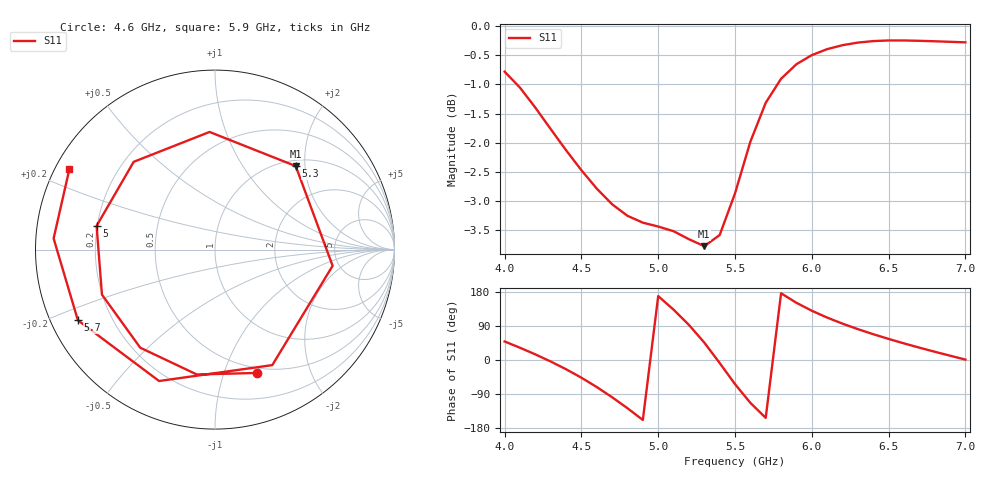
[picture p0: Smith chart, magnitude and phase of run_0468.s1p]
! Touchstone file exported from HFSS 2024.2.0
!  File:  C:/Users/wsak9/Desktop/Sim Fast/Widenad Patch/WP_AI_V1_sweep.aedt
!  Generated:  11:27:53 AM Oct 14, 2026
!  Design:  A1_model
!  Project:  WP_AI_V1_sweep
!  Setup:  Setup1
!  Solution:  Sweep
! Variables:
!  Air_gap = 4.57mm
!  Curve_Amp1 = 0.95
!  Curve_len1 = 1
!  Curve_pos = 11.47mm
!  Extra = 6.75mm
!  H_sub = 0.79mm
!  L_Patch = 18.94mm
!  L_Patch1 = 20.76mm
!  Sx = 4.4mm
!  Sy = 2.66mm
!  WS = 0.58mm
!  W_Patch = 18.89mm
!  W_Patch1 = 14.01mm
!Data is not renormalized
# GHz S MA
! Terminal data exported
! Port[1] = 1
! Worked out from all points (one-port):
!   31 points, 4 GHz to 7 GHz, reference per port
!   lowest |S11| = -3.8 dB at 5.3 GHz (marker M1), VSWR 4.67
!   |S11| at or under -10 dB: nowhere
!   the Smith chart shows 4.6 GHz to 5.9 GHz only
!   S11 on the Smith chart (normalised r, x): 4.6 GHz: 0.45, -1.29; 5 GHz: 0.20, +0.10; 5.3 GHz: 1.12, +1.79; 5.7 GHz: 0.08, -0.24; 5.9 GHz: 0.04, +0.26
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4  0.914 48.9
4.1  0.8856 32.4
4.2  0.8513 14.8
4.3  0.8159 -4.0
4.4  0.7825 -24.3
4.5  0.7521 -46.7
4.6  0.7252 -71.4
4.7  0.7031 -98.3
4.8  0.6872 -127.3
4.9  0.678 -158.3
5  0.6728 168.7
5.1  0.6666 132.8
5.2  0.6561 92.6
5.3  0.6472 46.0
5.4  0.6615 -7.8
5.5  0.7183 -63.6
5.6  0.7957 -113.1
5.7  0.8594 -152.7
5.8  0.9013 176.0
5.9  0.9275 150.9
6  0.9444 130.0
6.1  0.9556 111.9
6.2  0.9632 95.9
6.3  0.9681 81.5
6.5  0.9722 55.6
6.7  0.9715 32.6
6.8  0.9706 21.8
7  0.9686 1.1
